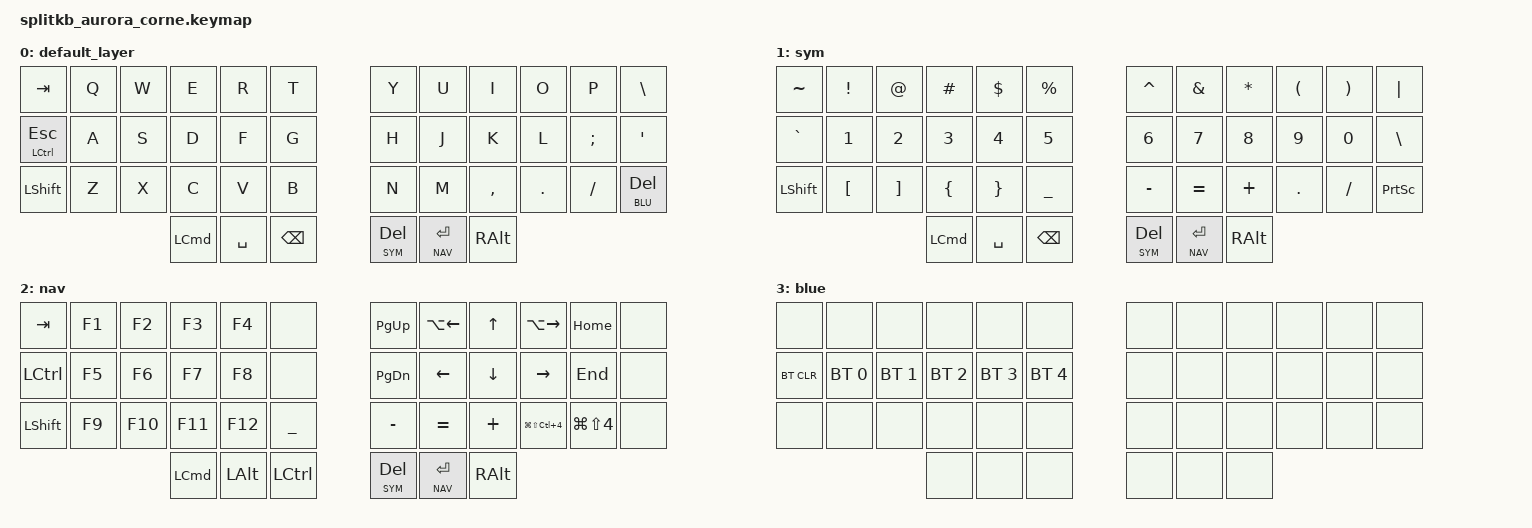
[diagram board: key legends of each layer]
/*
 * Copyright (c) 2020 The ZMK Contributors
 *
 * SPDX-License-Identifier: MIT
 */

#include <behaviors.dtsi>
#include <dt-bindings/zmk/keys.h>
#include <dt-bindings/zmk/bt.h>

#define DEFAULT 0
#define SYM   1
#define NAV   2
#define BLU   3

#define WRD_L LA(LEFT)
#define WRD_R LA(RIGHT)
#define S_SHOT LG(LS(N4))
#define C_SHOT LG(LS(LC(N4)))

/ {
        keymap {
                compatible = "zmk,keymap";

                default_layer {
// -----------------------------------------------------------------------------------------
// |  TAB     |  Q  |  W  |  E  |  R  |  T  |   |  Y  |  U   |  I  |  O  |  P  |    \    |
// | ESC-CTRL |  A  |  S  |  D  |  F  |  G  |   |  H  |  J   |  K  |  L  |  ;  |    '    |
// | SHFT     |  Z  |  X  |  C  |  V  |  B  |   |  N  |  M   |  ,  |  .  |  /  | L3/DEL  |
//                       | GUI | SPC | BSPS |   | SYM | NAV/RET | ALT |
                        bindings = <
    &kp TAB        &kp Q  &kp W  &kp E  &kp R  &kp T   &kp Y  &kp U  &kp I      &kp O    &kp P     &kp BSLH
    &mt LCTRL ESC  &kp A  &kp S  &kp D  &kp F  &kp G   &kp H  &kp J  &kp K      &kp L    &kp SEMI  &kp SQT
    &kp LSHFT      &kp Z  &kp X  &kp C  &kp V  &kp B   &kp N  &kp M  &kp COMMA  &kp DOT  &kp FSLH  &lt BLU DEL
                       &kp LCMD &kp SPACE &kp BSPC      &lt SYM DEL  &lt NAV RET &kp RALT
                        >;

                };
                sym {
// -----------------------------------------------------------------------------------------
// |  ~   |  !  |  @  |  #  |  $  |  %  |   |  ^  |  &  |  *  |  (  |  )  |   |   |
// |  `   |  1  |  2  |  3  |  4  |  5  |   |  6  |  7  |  8  |  9  |  0  |   \   |
// | SHFT |  [  |  ]  |  {  |  }  |  _  |   |  -  |  =  |  +  |  .  |  /  | PSCRN |
//                   | GUI | SPC | BSPS |   | SYM/DEL | NAV/RET | ALT |
                        bindings = <
    &kp TILDE   &kp EXCL  &kp AT   &kp HASH  &kp DLLR  &kp PRCNT         &kp CARET  &kp AMPS   &kp STAR  &kp LPAR  &kp RPAR  &kp PIPE
    &kp GRAVE   &kp N1    &kp N2   &kp N3    &kp N4    &kp N5            &kp N6     &kp N7     &kp N8    &kp N9    &kp N0    &kp BSLH
    &kp LSHFT   &kp LBKT  &kp RBKT &kp LBRC  &kp RBRC  &kp UNDER         &kp MINUS  &kp EQUAL  &kp PLUS  &kp DOT &kp SLASH  &kp PSCRN
                                 &kp LCMD &kp SPACE &kp BSPC             &lt SYM DEL  &lt NAV RET &kp RALT
                        >;
                };


                nav {
// -----------------------------------------------------------------------------------------
// | TAB  |  F1  |  F2  |  F3  |  F4  |     |   | PGUP | WRD_L |  UP  | WRD_R  |  HOME  |     |
// | CTRL |  F5  |  F6  |  F7  |  F8  |     |   | PGDN | LEFT  | DOWN | RIGHT  |  EMD   |     |
// | SHFT |  F9  |  F10 |  F11 |  F12 |  _  |   |   -  |   =   |   +  | C_SHOT | S_SHOT |     |
//                       | GUI | ALT | CTL |     | SYM | NAV/RET | ALT |
                        bindings = <
    &kp TAB    &kp F1  &kp F2   &kp F3   &kp F4   &none         &kp PG_UP  &kp WRD_L  &kp UP     &kp WRD_R  &kp HOME    &none
    &kp LCTRL  &kp F5  &kp F6   &kp F7   &kp F8   &none         &kp PG_DN  &kp LEFT   &kp DOWN   &kp RIGHT  &kp END     &none
    &kp LSHFT  &kp F9  &kp F10  &kp F11  &kp F12  &kp UNDER     &kp MINUS  &kp EQUAL  &kp PLUS   &kp C_SHOT &kp S_SHOT  &none
                             &kp LCMD &kp LALT &kp LCTL      &lt SYM DEL  &lt NAV RET &kp RALT
                        >;
                };

                blue {
// -----------------------------------------------------------------------------------------
// |      |     |     |     |     |     |   |     |     |     |     |     |      |
// | BTCLR| BT1 | BT2 | BT3 | BT4 | BT5 |   |     |     |     |     |     |      |
// |      |     |     |     |     |     |   |     |     |     |     |     |      |
//                    |     |     |     |   |     |     |     |
                        bindings = <
   &none      &none        &none        &none        &none        &none          &none  &none  &none  &none  &none  &none
   &bt BT_CLR &bt BT_SEL 0 &bt BT_SEL 1 &bt BT_SEL 2 &bt BT_SEL 3 &bt BT_SEL 4   &none  &none  &none  &none  &none  &none
   &none      &none        &none        &none        &none        &none          &none  &none  &none  &none  &none  &none
                                               &none  &none  &none     &none  &none  &none
                        >;
                };

        };
};
